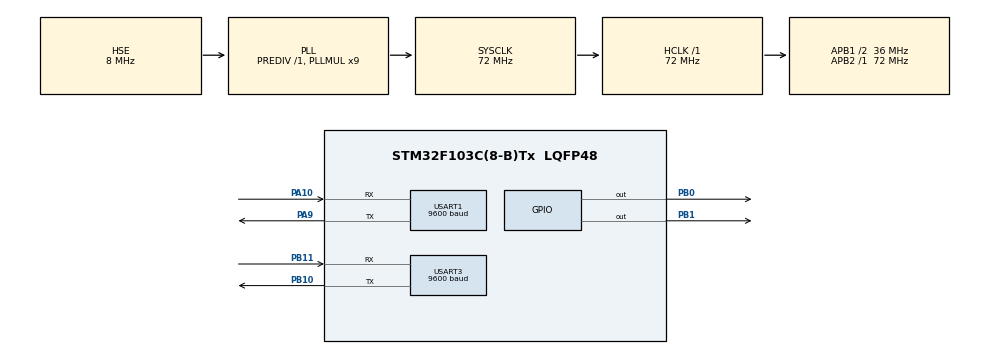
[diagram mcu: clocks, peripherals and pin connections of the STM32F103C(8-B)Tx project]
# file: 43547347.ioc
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Dma.Request0=USART3_RX
Dma.Request1=USART3_TX
Dma.Request2=USART1_RX
Dma.Request3=USART1_TX
Dma.USART1_RX.2.Direction=DMA_PERIPH_TO_MEMORY
Dma.USART1_RX.2.Instance=DMA1_Channel5
Dma.USART1_RX.2.MemDataAlignment=DMA_MDATAALIGN_BYTE
Dma.USART1_RX.2.MemInc=DMA_MINC_ENABLE
Dma.USART1_RX.2.Mode=DMA_NORMAL
Dma.USART1_RX.2.PeriphDataAlignment=DMA_PDATAALIGN_BYTE
Dma.USART1_RX.2.PeriphInc=DMA_PINC_DISABLE
Dma.USART1_RX.2.Priority=DMA_PRIORITY_LOW
Dma.USART1_TX.3.Direction=DMA_MEMORY_TO_PERIPH
Dma.USART1_TX.3.Instance=DMA1_Channel4
Dma.USART1_TX.3.MemDataAlignment=DMA_MDATAALIGN_BYTE
Dma.USART1_TX.3.MemInc=DMA_MINC_ENABLE
Dma.USART1_TX.3.Mode=DMA_NORMAL
Dma.USART1_TX.3.PeriphDataAlignment=DMA_PDATAALIGN_BYTE
Dma.USART1_TX.3.PeriphInc=DMA_PINC_DISABLE
Dma.USART1_TX.3.Priority=DMA_PRIORITY_LOW
Dma.USART3_RX.0.Direction=DMA_PERIPH_TO_MEMORY
Dma.USART3_RX.0.Instance=DMA1_Channel3
Dma.USART3_RX.0.MemDataAlignment=DMA_MDATAALIGN_BYTE
Dma.USART3_RX.0.MemInc=DMA_MINC_ENABLE
Dma.USART3_RX.0.Mode=DMA_NORMAL
Dma.USART3_RX.0.PeriphDataAlignment=DMA_PDATAALIGN_BYTE
Dma.USART3_RX.0.PeriphInc=DMA_PINC_DISABLE
Dma.USART3_RX.0.Priority=DMA_PRIORITY_VERY_HIGH
Dma.USART3_TX.1.Direction=DMA_MEMORY_TO_PERIPH
Dma.USART3_TX.1.Instance=DMA1_Channel2
Dma.USART3_TX.1.MemDataAlignment=DMA_MDATAALIGN_BYTE
Dma.USART3_TX.1.MemInc=DMA_MINC_ENABLE
Dma.USART3_TX.1.Mode=DMA_NORMAL
Dma.USART3_TX.1.PeriphDataAlignment=DMA_PDATAALIGN_BYTE
Dma.USART3_TX.1.PeriphInc=DMA_PINC_DISABLE
Dma.USART3_TX.1.Priority=DMA_PRIORITY_LOW
FREERTOS.Tasks01=defaultTask,0,128,StartDefaultTask,Default,NULL,Dynamic,NULL,NULL
FREERTOS.Timers01=DoorTimer01,DoorCallback01,osTimerOnce,Default,NULL,Dynamic,NULL;DoorTimer02,DoorCallback02,osTimerOnce,Default,NULL,Dynamic,NULL;DoorTimer03,DoorCallback03,osTimerOnce,Default,NULL,Dynamic,NULL;DoorTimer04,DoorCallback04,osTimerOnce,Default,NULL,Dynamic,NULL;DoorTimer05,DoorCallback05,osTimerOnce,Default,NULL,Dynamic,NULL;DoorTimer06,DoorCallback06,osTimerOnce,Default,NULL,Dynamic,NULL
FREERTOS.configUSE_TIMERS=1
Mcu.Family=STM32F1
Mcu.Name=STM32F103C(8-B)Tx
Mcu.Package=LQFP48
NVIC.DMA1_Channel2_IRQn=true\:6\:0\:true\:false\:true\:true\:false\:true\:true
NVIC.DMA1_Channel3_IRQn=true\:6\:0\:true\:false\:true\:true\:false\:true\:true
NVIC.DMA1_Channel4_IRQn=true\:6\:0\:true\:false\:true\:true\:false\:true\:true
NVIC.DMA1_Channel5_IRQn=true\:6\:0\:true\:false\:true\:true\:false\:true\:true
NVIC.PriorityGroup=NVIC_PRIORITYGROUP_4
NVIC.TIM1_UP_IRQn=true\:15\:0\:false\:false\:true\:false\:false\:true\:true
NVIC.TimeBase=TIM1_UP_IRQn
NVIC.TimeBaseIP=TIM1
NVIC.USART1_IRQn=true\:5\:0\:true\:false\:true\:true\:true\:true\:true
NVIC.USART3_IRQn=true\:5\:0\:true\:false\:true\:true\:true\:true\:true
PA10.Mode=Asynchronous
PA10.Signal=USART1_RX
PA13.Mode=JTAG_4_pins
PA13.Signal=SYS_JTMS-SWDIO
PA14.Mode=JTAG_4_pins
PA14.Signal=SYS_JTCK-SWCLK
PA15.Mode=JTAG_4_pins
PA15.Signal=SYS_JTDI
PA9.Mode=Asynchronous
PA9.Signal=USART1_TX
PB0.GPIO_Speed=GPIO_SPEED_FREQ_HIGH
PB0.Signal=GPIO_Output
PB1.GPIO_Speed=GPIO_SPEED_FREQ_HIGH
PB1.Signal=GPIO_Output
PB10.GPIO_Mode=GPIO_MODE_AF_PP
PB10.GPIO_Speed=GPIO_SPEED_FREQ_LOW
PB10.Mode=Asynchronous
PB10.Signal=USART3_TX
PB11.Mode=Asynchronous
PB11.Signal=USART3_RX
PB3.Mode=JTAG_4_pins
PB3.Signal=SYS_JTDO-TRACESWO
PD0-OSC_IN.Mode=HSE-External-Oscillator
PD0-OSC_IN.Signal=RCC_OSC_IN
PD1-OSC_OUT.Mode=HSE-External-Oscillator
PD1-OSC_OUT.Signal=RCC_OSC_OUT
ProjectManager.HeapSize=0x200
ProjectManager.StackSize=0x400
ProjectManager.TargetToolchain=MDK-ARM V5.32
RCC.AHBFreq_Value=72000000
RCC.APB1CLKDivider=RCC_HCLK_DIV2
RCC.APB1Freq_Value=36000000
RCC.APB1TimFreq_Value=72000000
RCC.APB2Freq_Value=72000000
RCC.APB2TimFreq_Value=72000000
RCC.HCLKFreq_Value=72000000
RCC.PLLMUL=RCC_PLL_MUL9
RCC.PLLSourceVirtual=RCC_PLLSOURCE_HSE
RCC.SYSCLKFreq_VALUE=72000000
RCC.SYSCLKSource=RCC_SYSCLKSOURCE_PLLCLK
RCC.USBFreq_Value=72000000
USART1.BaudRate=9600
USART1.VirtualMode=VM_ASYNC
USART3.BaudRate=9600
USART3.VirtualMode=VM_ASYNC
VP_FREERTOS_VS_CMSIS_V1.Mode=CMSIS_V1
VP_SYS_VS_tim1.Mode=TIM1
board=custom

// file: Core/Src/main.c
/* USER CODE BEGIN Header */
/**
  ******************************************************************************
  * @file           : main.c
  * @brief          : Main program body
  ******************************************************************************
  * @attention
  *
  * Copyright (c) 2022 STMicroelectronics.
  * All rights reserved.
  *
  * This software is licensed under terms that can be found in the LICENSE file
  * in the root directory of this software component.
  * If no LICENSE file comes with this software, it is provided AS-IS.
  *
  ******************************************************************************
  */
/* USER CODE END Header */
#include "main.h"
#include "cmsis_os.h"
#include "dma.h"
#include "usart.h"
#include "gpio.h"

/* USER CODE BEGIN Includes */
#include <string.h>
#include "cmd.h"
#include "protocol.h"
#include "stm32f1xx_it.h"
#include "rs485.h"
#include "rs232.h"
#include "weight.h"
#include "crc.h"
//485使能引脚
uint8_t ReceiveBuff485[BUFFERSIZE];
uint8_t ReceiveBuff232[BUFFERSIZE]; //接收缓冲区
uint8_t TransmitBuff485[BUFFERSIZE];
uint8_t TransmitBuff232[BUFFERSIZE]; //发送缓冲区
uint8_t Rx_len485;//接收完成中断标志，接收到字符长度
uint8_t Rx_len232;//接收完成中断标志，接收到字符长度
//发送标志位
uint8_t sendFlag232=0x00;
uint8_t sendFlag485=0x00;
uint8_t closeFlag1=0x00;
uint8_t closeFlag2=0x00;
uint8_t closeFlag3=0x00;
uint8_t closeFlag4=0x00;
uint8_t closeFlag5=0x00;
uint8_t closeFlag6=0x00;
//门状态标志，2类电机用，1类不用
uint8_t door1_state=DOOR_STATE_CLOSE;
uint8_t door2_state=DOOR_STATE_CLOSE;
uint8_t door3_state=DOOR_STATE_CLOSE;
uint8_t door4_state=DOOR_STATE_CLOSE;
uint8_t door5_state=DOOR_STATE_CLOSE;
uint8_t door6_state=DOOR_STATE_CLOSE;
/* USER CODE END Includes */

void SystemClock_Config(void);
void MX_FREERTOS_Init(void);

int main(void)
{

  /* MCU Configuration--------------------------------------------------------*/

  /* Reset of all peripherals, Initializes the Flash interface and the Systick. */
  HAL_Init();

  /* USER CODE BEGIN Init */
  InitRs232();
  InitRs485();

  /* USER CODE END Init */

  /* Configure the system clock */
  SystemClock_Config();

  /* Initialize all configured peripherals */
  MX_GPIO_Init();
  MX_DMA_Init();
  MX_USART3_UART_Init();
  MX_USART1_UART_Init();
  /* USER CODE BEGIN 2 */
  enReceive485();
  HAL_Delay(10);
  __HAL_UART_ENABLE_IT(&huart3, UART_IT_IDLE);//使能串口3 IDLE中断
	HAL_UART_Receive_DMA(&huart3,ReceiveBuff485,BUFFERSIZE);//使能接收
  __HAL_UART_ENABLE_IT(&huart1, UART_IT_IDLE);//使能串口1 IDLE中断
	HAL_UART_Receive_DMA(&huart1,ReceiveBuff232,BUFFERSIZE);//使能接收
  InitWeight();
  /* USER CODE END 2 */

  /* Call init function for freertos objects (in freertos.c) */
  MX_FREERTOS_Init();

  /* Start scheduler */
  osKernelStart();

  /* We should never get here as control is now taken by the scheduler */
  /* Infinite loop */
  while (1)
  {

  }
}

void SystemClock_Config(void)
{
  RCC_OscInitTypeDef RCC_OscInitStruct = {0};
  RCC_ClkInitTypeDef RCC_ClkInitStruct = {0};

  /** Initializes the RCC Oscillators according to the specified parameters
  * in the RCC_OscInitTypeDef structure.
  */
  RCC_OscInitStruct.OscillatorType = RCC_OSCILLATORTYPE_HSE;
  RCC_OscInitStruct.HSEState = RCC_HSE_ON;
  RCC_OscInitStruct.HSEPredivValue = RCC_HSE_PREDIV_DIV1;
  RCC_OscInitStruct.HSIState = RCC_HSI_ON;
  RCC_OscInitStruct.PLL.PLLState = RCC_PLL_ON;
  RCC_OscInitStruct.PLL.PLLSource = RCC_PLLSOURCE_HSE;
  RCC_OscInitStruct.PLL.PLLMUL = RCC_PLL_MUL9;
  if (HAL_RCC_OscConfig(&RCC_OscInitStruct) != HAL_OK)
  {
    Error_Handler();
  }

  /** Initializes the CPU, AHB and APB buses clocks
  */
  RCC_ClkInitStruct.ClockType = RCC_CLOCKTYPE_HCLK|RCC_CLOCKTYPE_SYSCLK
                              |RCC_CLOCKTYPE_PCLK1|RCC_CLOCKTYPE_PCLK2;
  RCC_ClkInitStruct.SYSCLKSource = RCC_SYSCLKSOURCE_PLLCLK;
  RCC_ClkInitStruct.AHBCLKDivider = RCC_SYSCLK_DIV1;
  RCC_ClkInitStruct.APB1CLKDivider = RCC_HCLK_DIV2;
  RCC_ClkInitStruct.APB2CLKDivider = RCC_HCLK_DIV1;

  if (HAL_RCC_ClockConfig(&RCC_ClkInitStruct, FLASH_LATENCY_2) != HAL_OK)
  {
    Error_Handler();
  }
}

/* USER CODE BEGIN 4 */
void HAL_UART_RxCpltCallback(UART_HandleTypeDef *huart)
{
  if(huart->Instance==USART3)
  {
    Rs485_Rec();
    HAL_UART_Receive_IT(&huart3, ReceiveBuff485, 6);
  }
}

/* USER CODE END 4 */

void HAL_TIM_PeriodElapsedCallback(TIM_HandleTypeDef *htim)
{
  if (htim->Instance == TIM1) {
    HAL_IncTick();
  }
}

void Error_Handler(void)
{
  __disable_irq();
  while (1)
  {
  }
}

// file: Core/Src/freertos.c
/* USER CODE BEGIN Header */
/**
  ******************************************************************************
  * File Name          : freertos.c
  * Description        : Code for freertos applications
  ******************************************************************************
  * @attention
  *
  * Copyright (c) 2022 STMicroelectronics.
  * All rights reserved.
  *
  * This software is licensed under terms that can be found in the LICENSE file
  * in the root directory of this software component.
  * If no LICENSE file comes with this software, it is provided AS-IS.
  *
  ******************************************************************************
  */
/* USER CODE END Header */

#include "FreeRTOS.h"
#include "task.h"
#include "main.h"
#include "cmsis_os.h"

/* USER CODE BEGIN Includes */
#include <string.h>
#include "cmd.h"
#include "protocol.h"
#include "stm32f1xx_it.h"
#include "rs485.h"
#include "rs232.h"
#include "weight.h"
#include "crc.h"
/* USER CODE END Includes */

osThreadId defaultTaskHandle;
osTimerId DoorTimer01Handle;
osTimerId DoorTimer02Handle;
osTimerId DoorTimer03Handle;
osTimerId DoorTimer04Handle;
osTimerId DoorTimer05Handle;
osTimerId DoorTimer06Handle;

void StartDefaultTask(void const * argument);
void DoorCallback01(void const * argument);
void DoorCallback02(void const * argument);
void DoorCallback03(void const * argument);
void DoorCallback04(void const * argument);
void DoorCallback05(void const * argument);
void DoorCallback06(void const * argument);

void MX_FREERTOS_Init(void); /* (MISRA C 2004 rule 8.1) */

/* GetIdleTaskMemory prototype (linked to static allocation support) */
void vApplicationGetIdleTaskMemory( StaticTask_t **ppxIdleTaskTCBBuffer, StackType_t **ppxIdleTaskStackBuffer, uint32_t *pulIdleTaskStackSize );

/* GetTimerTaskMemory prototype (linked to static allocation support) */
void vApplicationGetTimerTaskMemory( StaticTask_t **ppxTimerTaskTCBBuffer, StackType_t **ppxTimerTaskStackBuffer, uint32_t *pulTimerTaskStackSize );

/* USER CODE BEGIN GET_IDLE_TASK_MEMORY */
static StaticTask_t xIdleTaskTCBBuffer;
static StackType_t xIdleStack[configMINIMAL_STACK_SIZE];

void vApplicationGetIdleTaskMemory( StaticTask_t **ppxIdleTaskTCBBuffer, StackType_t **ppxIdleTaskStackBuffer, uint32_t *pulIdleTaskStackSize )
{
  *ppxIdleTaskTCBBuffer = &xIdleTaskTCBBuffer;
  *ppxIdleTaskStackBuffer = &xIdleStack[0];
  *pulIdleTaskStackSize = configMINIMAL_STACK_SIZE;
  /* place for user code */
}
/* USER CODE END GET_IDLE_TASK_MEMORY */

/* USER CODE BEGIN GET_TIMER_TASK_MEMORY */
static StaticTask_t xTimerTaskTCBBuffer;
static StackType_t xTimerStack[configTIMER_TASK_STACK_DEPTH];

void vApplicationGetTimerTaskMemory( StaticTask_t **ppxTimerTaskTCBBuffer, StackType_t **ppxTimerTaskStackBuffer, uint32_t *pulTimerTaskStackSize )
{
  *ppxTimerTaskTCBBuffer = &xTimerTaskTCBBuffer;
  *ppxTimerTaskStackBuffer = &xTimerStack[0];
  *pulTimerTaskStackSize = configTIMER_TASK_STACK_DEPTH;
  /* place for user code */
}
/* USER CODE END GET_TIMER_TASK_MEMORY */

void MX_FREERTOS_Init(void) {

  /* Create the timer(s) */
  /* definition and creation of DoorTimer01 */
  osTimerDef(DoorTimer01, DoorCallback01);
  DoorTimer01Handle = osTimerCreate(osTimer(DoorTimer01), osTimerOnce, NULL);

  /* definition and creation of DoorTimer02 */
  osTimerDef(DoorTimer02, DoorCallback02);
  DoorTimer02Handle = osTimerCreate(osTimer(DoorTimer02), osTimerOnce, NULL);

  /* definition and creation of DoorTimer03 */
  osTimerDef(DoorTimer03, DoorCallback03);
  DoorTimer03Handle = osTimerCreate(osTimer(DoorTimer03), osTimerOnce, NULL);

  /* definition and creation of DoorTimer04 */
  osTimerDef(DoorTimer04, DoorCallback04);
  DoorTimer04Handle = osTimerCreate(osTimer(DoorTimer04), osTimerOnce, NULL);

  /* definition and creation of DoorTimer05 */
  osTimerDef(DoorTimer05, DoorCallback05);
  DoorTimer05Handle = osTimerCreate(osTimer(DoorTimer05), osTimerOnce, NULL);

  /* definition and creation of DoorTimer06 */
  osTimerDef(DoorTimer06, DoorCallback06);
  DoorTimer06Handle = osTimerCreate(osTimer(DoorTimer06), osTimerOnce, NULL);

  /* Create the thread(s) */
  /* definition and creation of defaultTask */
  osThreadDef(defaultTask, StartDefaultTask, osPriorityNormal, 0, 128);
  defaultTaskHandle = osThreadCreate(osThread(defaultTask), NULL);

}

void StartDefaultTask(void const * argument)
{
  /* USER CODE BEGIN StartDefaultTask */
  /* Infinite loop */
  uint8_t a[8]={0x01,0x06,0x00,0x40,0xFC,0x1B,0x89,0x15};
  for(;;)
  {
    //Rs485_Send(a,8);
    cmd_select();
    osDelay(100);
  }
  /* USER CODE END StartDefaultTask */
}

/* DoorCallback01 function */
void DoorCallback01(void const * argument)
{
  /* USER CODE BEGIN DoorCallback01 */

  closeFlag1=0x01;
  door1_state=DOOR_STATE_CLOSE;
  /* USER CODE END DoorCallback01 */
}

/* DoorCallback02 function */
void DoorCallback02(void const * argument)
{
  /* USER CODE BEGIN DoorCallback02 */

  closeFlag2=0x01;
  door2_state=DOOR_STATE_CLOSE;
  /* USER CODE END DoorCallback02 */
}

/* DoorCallback03 function */
void DoorCallback03(void const * argument)
{
  /* USER CODE BEGIN DoorCallback03 */

  closeFlag3=0x01;
  door3_state=DOOR_STATE_CLOSE;
  /* USER CODE END DoorCallback03 */
}

/* DoorCallback04 function */
void DoorCallback04(void const * argument)
{
  /* USER CODE BEGIN DoorCallback04 */

  closeFlag4=0x01;
  door4_state=DOOR_STATE_CLOSE;
  /* USER CODE END DoorCallback04 */
}

/* DoorCallback05 function */
void DoorCallback05(void const * argument)
{
  /* USER CODE BEGIN DoorCallback05 */

  closeFlag5=0x01;
  door5_state=DOOR_STATE_CLOSE;
  /* USER CODE END DoorCallback05 */
}

/* DoorCallback06 function */
void DoorCallback06(void const * argument)
{
  /* USER CODE BEGIN DoorCallback06 */
  closeFlag6=0x01;
  door6_state=DOOR_STATE_CLOSE;
  /* USER CODE END DoorCallback06 */
}
